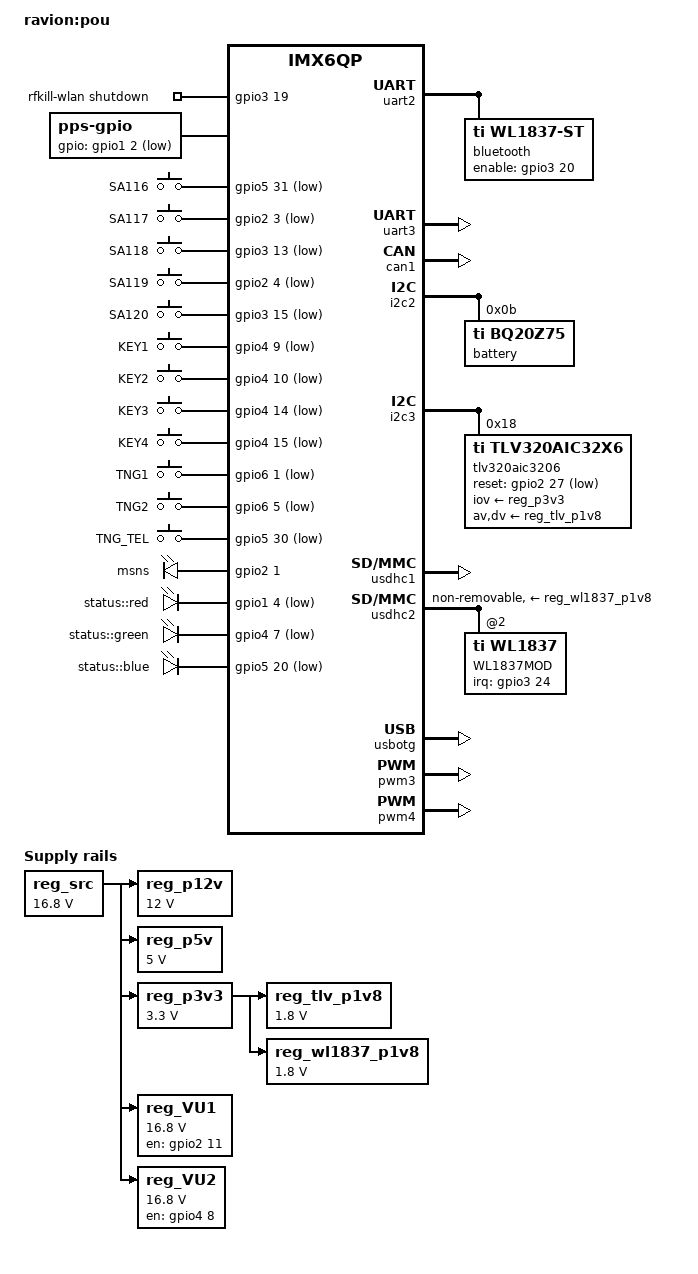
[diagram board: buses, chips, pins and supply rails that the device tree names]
/*
 * Copyright 2025 Radioavionica Corp.
 *
 * This program is free software; you can redistribute it and/or modify
 * it under the terms of the GNU General Public License version 2 as
 * published by the Free Software Foundation.
 *
 */

/*
 * Brief description:
 * 12v 5v 3.3v regs
 * [+] LMZM33606RLXR dcdc 3.5-36
 * [+] PWR_DOWN_127 default for ravion
 * [+] PWR_REQ_125 default for ravion
 * [+] RESETn_121 default for ravion
 * [+] TLV320AIC3206 audio codec
 * WL1837:
 * [+] uart2 -> BT
 * [+] SD2 -> WLsdio
 * [+] WL_IRQ_23
 * [+] WLAN_EN#_25
 * [+] BT_EN#_27
 *
 * M20072:
 * [+] PPS_55
 * [+] GPS_EN_113
 *
 * [+] RESET_AUDIO_114
 * [+] SA3_116
 * [+] SA4_117
 * [+] SA5_118
 * [+] SA6_119
 * [+] SA7_120
 * [+] VU1_PE
 * [+] VU2_PE
 * [+] KEY1_152
 * [+] KEY2_154
 * [+] KEY3_156
 * [+] KEY4_158
 * [+] TNG1_160
 * [+] TNG2_162
 * [+] TNG_TEL_164
 * [+] STATUS_LED_R 188
 * [+] STATUS_LED_G 190
 * [+] STATUS_LED_B 192
 * [+] CY7C65215A usb -> usart1 {MAX13488EESA usart1 -> rs485} usb -> uart_msns {M20072}
 * [+] MAX3245EETX uart1 -> rs232_1 uart3 -> rs232_3
 * [+] I2C SMB
 *
 */

/dts-v1/;
#include "imx6qp.dtsi"

#include "imx6qdl-ravion-v2.dtsi"

/ {
	model = "ravion:pou";
	compatible = "ravion,imx6qp", "fsl,imx6qp";

	/*
	 * Device specific regulators
	 */
	reg_src: regulator-power { /* DA5 */
			compatible = "regulator-fixed";
			regulator-name = "U_BAT";
			regulator-min-microvolt = <16800000>;
			regulator-max-microvolt = <16800000>;
			regulator-boot-on;
			regulator-always-on;
	};

	reg_p12v: regulator-p12v { /* DA6 */
			compatible = "regulator-fixed";
			regulator-name = "P12V";
			regulator-min-microvolt = <12000000>;
			regulator-max-microvolt = <12000000>;
			vin-supply = <&reg_src>;
			regulator-always-on;
	};

	reg_p5v: regulator-p5v { /* DA7 */
			compatible = "regulator-fixed";
			regulator-name = "P5V";
			regulator-min-microvolt = <5000000>;
			regulator-max-microvolt = <5000000>;
			vin-supply = <&reg_src>;
			regulator-always-on;
	};

	reg_p3v3: regulator-p3v3 { /* DA8 */
			compatible = "regulator-fixed";
			regulator-name = "P3V3";
			regulator-min-microvolt = <3300000>;
			regulator-max-microvolt = <3300000>;
			vin-supply = <&reg_src>;
			regulator-always-on;
	};

	reg_tlv_p1v8: regulator-tlv { /* DA13 */
			compatible = "regulator-fixed";
			regulator-name = "TLV-P1V8";
			regulator-min-microvolt = <1800000>;
			regulator-max-microvolt = <1800000>;
			vin-supply = <&reg_p3v3>;
			regulator-always-on;
	};

	reg_wl1837_p1v8: regulator-wl1837-p1v8 { /* DA6 */
			compatible = "regulator-fixed";
			regulator-name = "wl1837-reg";
			regulator-min-microvolt = <1800000>;
			regulator-max-microvolt = <1800000>;
			vin-supply = <&reg_p3v3>;
			startup-delay-us = <70000>;
			enable-active-high;
			regulator-always-on;
			regulator-boot-on;
	};

	reg_VU1: regulator-vu1 { /* DA18 */
			compatible = "regulator-fixed";
			regulator-name = "VU1";
			regulator-min-microvolt = <16800000>;
			regulator-max-microvolt = <16800000>;
			vin-supply = <&reg_src>;
			gpio = <&gpio2 11 GPIO_ACTIVE_HIGH>;	/* soDimm133 */
			enable-active-high;
	};

	reg_VU2: regulator-vu2 { /* DA19 */
			compatible = "regulator-fixed";
			regulator-name = "VU2";
			regulator-min-microvolt = <16800000>;
			regulator-max-microvolt = <16800000>;
			vin-supply = <&reg_src>;
			gpio = <&gpio4 8 GPIO_ACTIVE_LOW>;	/* soDimm150 */
			enable-active-high;
	};

	// Need to check if this works:
	rfkill {
		compatible = "rfkill-gpio";
		label = "rfkill-wlan";
		radio-type = "wlan";
		shutdown-gpios = <&gpio3 19 GPIO_ACTIVE_HIGH>;	/* soDimm025 */
	};

	sound-tlv320 {
		compatible = "fsl,imx-audio-tlv320aic32x4";
		model = "imx-audio-tlv320aic32x6";
		ssi-controller = <&ssi2>;
		audio-codec = <&tlv320aic3206>;
		audio-asrc = <&asrc>;
		audio-routing =
			"IN1_L", "Line In Jack",
			"IN1_R", "Line In Jack",
			"IN2_L", "Line In Jack",
			"IN2_R", "Line In Jack",
			"Headphone Jack", "HPL",
			"Headphone Jack", "HPR",
			"Line Out Jack", "LOL",
			"Line Out Jack", "LOR";
		mux-int-port = <1>;
		mux-ext-port = <3>;
	};

	pps {
		compatible = "pps-gpio";
		gpios	= <&gpio1  2 GPIO_ACTIVE_LOW>;		/* soDimm055 */
	};

	gpio-keys {
		compatible = "gpio-keys";

		SA116 {
			label = "SA116";
			gpios = <&gpio5 31 GPIO_ACTIVE_LOW>;	/* soDimm 116 */
			linux,code = <KEY_F10>;
			debounce-interval = <100>;
			wakeup-source;
		};

		SA117 {
			label = "SA117";
			gpios = <&gpio2 3 GPIO_ACTIVE_LOW>;	/* soDimm 117 */
			linux,code = <KEY_F11>;
			debounce-interval = <100>;
			wakeup-source;
		};

		SA118 {
			label = "SA118";
			gpios = <&gpio3 13 GPIO_ACTIVE_LOW>;	/* soDimm 118 */
			linux,code = <KEY_F12>;
			debounce-interval = <100>;
			wakeup-source;
		};

		SA119 {
			label = "SA119";
			gpios = <&gpio2 4 GPIO_ACTIVE_LOW>;	/* soDimm 119 */
			linux,code = <KEY_F13>;
			debounce-interval = <100>;
			wakeup-source;
		};

		SA120 {
			label = "SA120";
			gpios = <&gpio3 15 GPIO_ACTIVE_LOW>;	/* soDimm 120 */
			linux,code = <KEY_F14>;
			debounce-interval = <100>;
			wakeup-source;
		};

		KEY1 {
			label = "KEY1";
			gpios = <&gpio4 9 GPIO_ACTIVE_LOW>;	/* soDimm152 */
			linux,code = <KEY_F15>; //TODO: fix keycode number
			debounce-interval = <100>;
			wakeup-source;
		};

		KEY2 {
			label = "KEY2";
			gpios = <&gpio4 10 GPIO_ACTIVE_LOW>;	/* soDimm154 */
			linux,code = <KEY_F16>; //TODO: fix keycode number
			debounce-interval = <100>;
			wakeup-source;
		};

		KEY3 {
			label = "KEY3";
			gpios = <&gpio4 14 GPIO_ACTIVE_LOW>;	/* soDimm156 */
			linux,code = <KEY_F17>; //TODO: fix keycode number
			debounce-interval = <100>;
			wakeup-source;
		};

		KEY4 {
			label = "KEY4";
			gpios = <&gpio4 15 GPIO_ACTIVE_LOW>;	/* soDimm158 */
			linux,code = <KEY_F18>; //TODO: fix keycode number
			debounce-interval = <100>;
			wakeup-source;
		};

		TNG1 {
			label = "TNG1";
			gpios = <&gpio6 1 GPIO_ACTIVE_LOW>;	/* soDimm160 */
			linux,code = <KEY_F2>;
			debounce-interval = <100>;
			wakeup-source;
		};

		TNG2 {
			label = "TNG2";
			gpios = <&gpio6 5 GPIO_ACTIVE_LOW>;	/* soDimm162 */
			linux,code = <KEY_F19>; //TODO: fix keycode number
			debounce-interval = <100>;
			wakeup-source;
		};

		TNG_TEL {
			label = "TNG_TEL";
			gpios = <&gpio5 30 GPIO_ACTIVE_LOW>;	/* soDimm164 */
			linux,code = <KEY_F20>; //TODO: fix keycode number
			debounce-interval = <100>;
			wakeup-source;
		};

	};

	gpio-leds {
		compatible = "gpio-leds";

		gps_en {
			label = "msns";
			gpios = <&gpio2 1 GPIO_ACTIVE_HIGH>;	/* soDimm113 */
			default-state = "off";
		};

		status_red {
			label = "status::red";
			gpios = <&gpio1 4 GPIO_ACTIVE_LOW>;	/* soDimm188 */
			default-state = "off";
		};

		status_green {
			label = "status::green";
			gpios = <&gpio4 7 GPIO_ACTIVE_LOW>;	/* soDimm190 */
			default-state = "off";
		};

		status_blue {
			label = "status::blue";
			gpios = <&gpio5 20 GPIO_ACTIVE_LOW>;	/* soDimm192 */
			default-state = "off";
		};
	};
};

/*
 * Serial ports
 */
/* &uart1 {	status = "okay";	}; => Allways enabled */
&uart2 {
	uart-has-rtscts;
	status = "okay";

	bluetooth {
		enable-gpios = <&gpio3 20 GPIO_ACTIVE_HIGH>;	/* soDimm 027 */
		compatible = "ti,wl1837-st";
		clocks = <&clk_32k_bt 0>;
		clock-names = "ext_clock";
		max-speed = <3686400>;
		current-speed = <115200>;
		status = "okay";

		clk_32k_bt: bt_clk {
			compatible = "fixed-clock";
			#clock-cells = <0>;
			clock-frequency = <32768>;
			clock-accuracy = <100>;
		};
	};
};

&uart3 {
	status = "okay";
};

/*
 * Controller Area Network (CAN) Bus
 */
&can1 {
	status = "okay";
};

/*
 * I2C Busses
 */
&i2c2 {	/* Compatible I2C: soDimm 194, 196 */
	status = "okay";

	battery@b {
		compatible = "ti,bq20z75", "sbs,sbs-battery";
		reg = <0xb>;
		sbs,i2c-retry-count = <2>;
		sbs,poll-retry-count = <10>;

	};
};

&i2c3 { /* Extended I2C: soDimm 128, 130 */
	status = "okay";

	/* ext codec */
	#address-cells = <1>;
	#size-cells = <0>;
	tlv320aic3206: codec@18 {
		compatible = "ti,tlv320aic32x6";
		reg = <0x18>;
		iov-supply = <&reg_p3v3>;
		av-supply = <&reg_tlv_p1v8>;
		dv-supply = <&reg_tlv_p1v8>;
		reset-gpios = <&gpio2 27 GPIO_ACTIVE_LOW>; /* soDimm 114 */
		clocks = <&clks IMX6QDL_CLK_CKO2>; /* soDimm 137 */
		clock-names = "mclk";
	};
};

&mipi_csi {
	status = "disabled";
};

/*
 * SD/MMC and eMMC controllers
 */
&usdhc1 {	status = "okay";	}; /* compatible */
&usdhc2 {				   /* externed - WiFi module */
	keep-power-in-suspend;
	cap-power-off-card;
	non-removable;
	max-frequency = <50000000>;
	status = "okay";
	vmmc-supply = <&reg_wl1837_p1v8>;
	#address-cells = <1>;
	#size-cells = <0>;

	WL1837MOD: wlcore@2 {
		compatible = "ti,wl1837";
		reg = <2>;
		interrupt-parent = <&gpio3>;
		interrupts = <24 IRQ_TYPE_LEVEL_HIGH>;	/* soDim023 */
		tcxo-clock-frequency = <26000000>;
	};
};
/* &usdhc3 {	status = "okay";	}; => eMMC allways enabled */

/*
 * Ethernet controller
 */
/* &fec {	status = "okay";	}; => eth0 allways enabled */

/*
 * Audio (digital part)
 */
/* &audmux {	status = "okay";	}; => Allways enabled */
/* &ssi1 {	status = "okay";	}; => Allways enabled */

/* &usbh1  {	status = "okay";	}; HOST => Allways enabled */

&usbotg	{ /* OTG */
	status = "okay";
};

/*
 * PWMs
 */
&pwm3	{	status = "okay";	};
&pwm4	{	status = "okay";	};

&iomuxc {
	pinctrl-names = "default";
	pinctrl-0 = <&pinctrl_hog>, <&pinctrl_uart1gpio>;
};
